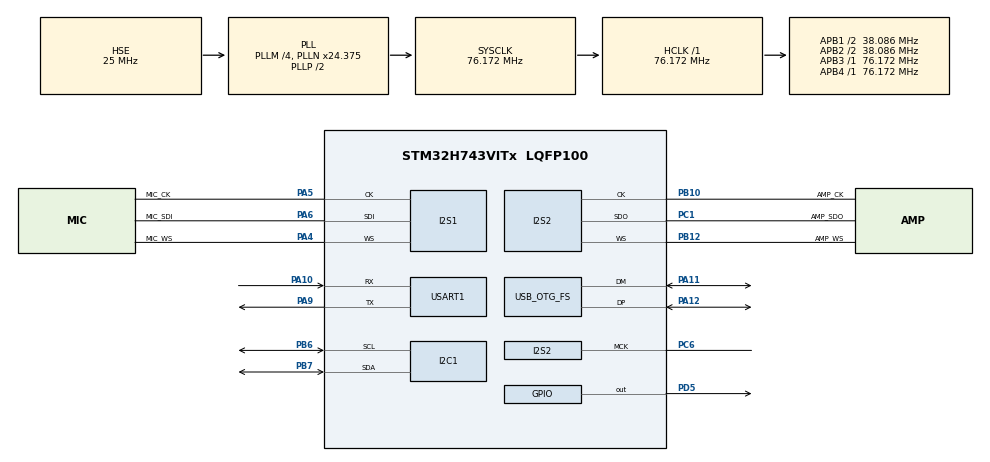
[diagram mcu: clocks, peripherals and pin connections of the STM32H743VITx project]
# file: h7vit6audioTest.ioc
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CORTEX_M7.default_mode_Activation=1
Dma.Request0=SPI1_RX
Dma.Request1=SPI2_TX
Dma.SPI1_RX.0.Direction=DMA_PERIPH_TO_MEMORY
Dma.SPI1_RX.0.EventEnable=DISABLE
Dma.SPI1_RX.0.FIFOMode=DMA_FIFOMODE_DISABLE
Dma.SPI1_RX.0.Instance=DMA1_Stream0
Dma.SPI1_RX.0.MemDataAlignment=DMA_MDATAALIGN_HALFWORD
Dma.SPI1_RX.0.MemInc=DMA_MINC_ENABLE
Dma.SPI1_RX.0.Mode=DMA_CIRCULAR
Dma.SPI1_RX.0.PeriphDataAlignment=DMA_PDATAALIGN_HALFWORD
Dma.SPI1_RX.0.PeriphInc=DMA_PINC_DISABLE
Dma.SPI1_RX.0.Polarity=HAL_DMAMUX_REQ_GEN_RISING
Dma.SPI1_RX.0.Priority=DMA_PRIORITY_HIGH
Dma.SPI1_RX.0.RequestNumber=1
Dma.SPI1_RX.0.SignalID=NONE
Dma.SPI1_RX.0.SyncEnable=DISABLE
Dma.SPI1_RX.0.SyncPolarity=HAL_DMAMUX_SYNC_NO_EVENT
Dma.SPI1_RX.0.SyncRequestNumber=1
Dma.SPI1_RX.0.SyncSignalID=NONE
Dma.SPI2_TX.1.Direction=DMA_MEMORY_TO_PERIPH
Dma.SPI2_TX.1.EventEnable=DISABLE
Dma.SPI2_TX.1.FIFOMode=DMA_FIFOMODE_DISABLE
Dma.SPI2_TX.1.Instance=DMA1_Stream1
Dma.SPI2_TX.1.MemDataAlignment=DMA_MDATAALIGN_HALFWORD
Dma.SPI2_TX.1.MemInc=DMA_MINC_ENABLE
Dma.SPI2_TX.1.Mode=DMA_CIRCULAR
Dma.SPI2_TX.1.PeriphDataAlignment=DMA_PDATAALIGN_HALFWORD
Dma.SPI2_TX.1.PeriphInc=DMA_PINC_DISABLE
Dma.SPI2_TX.1.Polarity=HAL_DMAMUX_REQ_GEN_RISING
Dma.SPI2_TX.1.Priority=DMA_PRIORITY_HIGH
Dma.SPI2_TX.1.RequestNumber=1
Dma.SPI2_TX.1.SignalID=NONE
Dma.SPI2_TX.1.SyncEnable=DISABLE
Dma.SPI2_TX.1.SyncPolarity=HAL_DMAMUX_SYNC_NO_EVENT
Dma.SPI2_TX.1.SyncRequestNumber=1
Dma.SPI2_TX.1.SyncSignalID=NONE
I2C1.Timing=0x009094DF
I2S1.AudioFreq=I2S_AUDIOFREQ_44K
I2S1.DataFormat=I2S_DATAFORMAT_16B
I2S1.ErrorAudioFreq=-3.39 %
I2S1.Instance=SPI$Index
I2S1.RealAudioFreq=42.506 KHz
I2S2.AudioFreq=I2S_AUDIOFREQ_44K
I2S2.DataFormat=I2S_DATAFORMAT_16B
I2S2.ErrorAudioFreq=-3.39 %
I2S2.Instance=SPI$Index
I2S2.RealAudioFreq=42.506 KHz
Mcu.Family=STM32H7
Mcu.Name=STM32H743VITx
Mcu.Package=LQFP100
NVIC.DMA1_Stream0_IRQn=true\:0\:0\:false\:false\:true\:false\:true\:true
NVIC.DMA1_Stream1_IRQn=true\:0\:0\:false\:false\:true\:false\:true\:true
NVIC.OTG_FS_IRQn=true\:0\:0\:false\:false\:true\:false\:true\:true
NVIC.PriorityGroup=NVIC_PRIORITYGROUP_4
PA10.Mode=Asynchronous
PA10.Signal=USART1_RX
PA11.Mode=Device_Only
PA11.Signal=USB_OTG_FS_DM
PA12.Mode=Device_Only
PA12.Signal=USB_OTG_FS_DP
PA13\ (JTMS/SWDIO).Mode=Serial_Wire
PA13\ (JTMS/SWDIO).Signal=DEBUG_JTMS-SWDIO
PA14\ (JTCK/SWCLK).Mode=Serial_Wire
PA14\ (JTCK/SWCLK).Signal=DEBUG_JTCK-SWCLK
PA4.GPIO_Label=MIC_WS
PA4.Mode=Half_Duplex_Master_Rx
PA4.Signal=I2S1_WS
PA5.GPIO_Label=MIC_CK
PA5.Mode=Half_Duplex_Master_Rx
PA5.Signal=I2S1_CK
PA6.GPIO_Label=MIC_SDI
PA6.Mode=Half_Duplex_Master_Rx
PA6.Signal=I2S1_SDI
PA9.Mode=Asynchronous
PA9.Signal=USART1_TX
PB10.GPIO_Label=AMP_CK
PB10.Mode=Half_Duplex_Master_Tx
PB10.Signal=I2S2_CK
PB12.GPIO_Label=AMP_WS
PB12.Mode=Half_Duplex_Master_Tx
PB12.Signal=I2S2_WS
PB6.Mode=I2C
PB6.Signal=I2C1_SCL
PB7.Mode=I2C
PB7.Signal=I2C1_SDA
PC1.GPIO_Label=AMP_SDO
PC1.Mode=Half_Duplex_Master_Tx
PC1.Signal=I2S2_SDO
PC14-OSC32_IN\ (OSC32_IN).Mode=LSE-External-Oscillator
PC14-OSC32_IN\ (OSC32_IN).Signal=RCC_OSC32_IN
PC15-OSC32_OUT\ (OSC32_OUT).Mode=LSE-External-Oscillator
PC15-OSC32_OUT\ (OSC32_OUT).Signal=RCC_OSC32_OUT
PC6.Mode=Master_Clock_Activated
PC6.Signal=I2S2_MCK
PD5.Signal=GPIO_Output
PH0-OSC_IN\ (PH0).Mode=HSE-External-Oscillator
PH0-OSC_IN\ (PH0).Signal=RCC_OSC_IN
PH1-OSC_OUT\ (PH1).Mode=HSE-External-Oscillator
PH1-OSC_OUT\ (PH1).Signal=RCC_OSC_OUT
ProjectManager.HeapSize=0x200
ProjectManager.StackSize=0x400
ProjectManager.TargetToolchain=STM32CubeIDE
RCC.ADCFreq_Value=50390625
RCC.APB1Freq_Value=38085937.5
RCC.APB2Freq_Value=38085937.5
RCC.APB3Freq_Value=76171875
RCC.APB4Freq_Value=76171875
RCC.CortexFreq_Value=76171875
RCC.D2PPRE1=RCC_APB1_DIV2
RCC.D2PPRE2=RCC_APB2_DIV2
RCC.DIVM1=4
RCC.DIVN1=24
RCC.DIVQ1=14
RCC.HCLKFreq_Value=76171875
RCC.PLLFRACN=3072
RCC.PLLSourceVirtual=RCC_PLLSOURCE_HSE
RCC.SYSCLKFreq_VALUE=76171875
RCC.SYSCLKSource=RCC_SYSCLKSOURCE_PLLCLK
RCC.USBCLockSelection=RCC_USBCLKSOURCE_HSI48
RCC.USBFreq_Value=48000000
USART1.VirtualMode-Asynchronous=VM_ASYNC
USB_DEVICE.CLASS_NAME_FS=CDC
USB_DEVICE.VirtualMode-CDC_FS=Cdc
USB_DEVICE.VirtualModeFS=Cdc_FS
USB_OTG_FS.VirtualMode=Device_Only
VP_MEMORYMAP_VS_MEMORYMAP.Mode=CurAppReg
VP_USB_DEVICE_VS_USB_DEVICE_CDC_FS.Mode=CDC_FS
board=custom

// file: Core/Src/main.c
/* USER CODE BEGIN Header */
/**
  ******************************************************************************
  * @file           : main.c
  * @brief          : Main program body
  ******************************************************************************
  * @attention
  *
  * Copyright (c) 2026 STMicroelectronics.
  * All rights reserved.
  *
  * This software is licensed under terms that can be found in the LICENSE file
  * in the root directory of this software component.
  * If no LICENSE file comes with this software, it is provided AS-IS.
  *
  ******************************************************************************
  */
/* USER CODE END Header */
#include "main.h"
#include "dma.h"
#include "i2c.h"
#include "i2s.h"
#include "usart.h"
#include "usb_device.h"
#include "gpio.h"

/* USER CODE BEGIN Includes */
#include <string.h>
#include <stdio.h>
#include "usbd_cdc_if.h"
/* USER CODE END Includes */

/* USER CODE BEGIN PTD */
// Define buffer size. 4096 half-words = 8192 bytes.
// It must be an even number so it can be split into two perfect halves.
#define DAC3100_I2C_ADDR (0x18 << 1) // Default I2C address
#define AUDIO_BUFFER_SIZE 4096
const int GAIN_FACTOR = 1;
// 16-bit (Half-Word) buffers for Circular DMA
uint16_t rxBuffer[AUDIO_BUFFER_SIZE];
uint16_t txBuffer[AUDIO_BUFFER_SIZE];

// Flags to handle processing in the main loop instead of the ISR
volatile uint8_t processHalf1 = 0;
volatile uint8_t processHalf2 = 0;
/* USER CODE END PTD */

/* USER CODE BEGIN PD */

int __io_putchar(int ch) {

    HAL_UART_Transmit(&huart1, (uint8_t *)&ch, 1, HAL_MAX_DELAY);
    return ch;
}

static uint8_t current_page = 0xFF;
uint8_t TxBuffer[] = "Hello World! From STM32 USB CDC Device To Virtual COM Port\r\n";
uint8_t TxBufferLen = sizeof(TxBuffer);

void USB_CDC_RxHandler(uint8_t* Buf, uint32_t Len)
{
	CDC_Transmit_FS(Buf, Len);
}

void FirstHalfProcessAudio()
{

	 for(int i = 0; i < (AUDIO_BUFFER_SIZE / 2); i++)
		          {
		              // Cast to signed 16-bit! Audio is 2's complement PCM.
		              int32_t sample = (int16_t)rxBuffer[i];

		              sample *= GAIN_FACTOR; // Boost the volume

		              // 3. Hard Clipping (Prevent overflow static/screeching)
		              if (sample > 32767)  sample = 32767;
		              if (sample < -32768) sample = -32768;

		              txBuffer[i] = (uint16_t)sample;
		          }

}

void SecondHalfProcessAudio()
{

	for(int i = (AUDIO_BUFFER_SIZE / 2); i < AUDIO_BUFFER_SIZE; i++)
		          {
		              int32_t sample = (int16_t)rxBuffer[i];

		              sample *= GAIN_FACTOR;

		              if (sample > 32767)  sample = 32767;
		              if (sample < -32768) sample = -32768;

		              txBuffer[i] = (uint16_t)sample;
		          }

}

void DAC3100_SetPage(I2C_HandleTypeDef *hi2c, uint8_t page)
{
    if (page != current_page) {
        uint8_t buffer[2] = {0x00, page}; // Register 0 is always Page Select
        HAL_I2C_Master_Transmit(hi2c, DAC3100_I2C_ADDR, buffer, 2, 100);
        current_page = page;
    }
}

void DAC3100_WriteRegister(I2C_HandleTypeDef *hi2c, uint8_t reg, uint8_t data)
{
    uint8_t buffer[2] = {reg, data};
    HAL_I2C_Master_Transmit(hi2c, DAC3100_I2C_ADDR, buffer, 2, 100);
}

void DAC3100_Init(I2C_HandleTypeDef *hi2c)
{
    // 1. Define starting point
    DAC3100_SetPage(hi2c, 0);       // Ensure we are on Page 0
    DAC3100_WriteRegister(hi2c, 0x01, 0x01); // SW Reset
    HAL_Delay(10);

    // 2. Program clock settings
    // All these are on Page 0, so no need to call SetPage again!
    DAC3100_WriteRegister(hi2c, 0x04, 0x03); // Clock mux
    DAC3100_WriteRegister(hi2c, 0x06, 0x08); // J value
    DAC3100_WriteRegister(hi2c, 0x07, 0x00); // D MSB
    DAC3100_WriteRegister(hi2c, 0x08, 0x00); // D LSB
    DAC3100_WriteRegister(hi2c, 0x05, 0x91); // Power up PLL

    DAC3100_WriteRegister(hi2c, 0x0B, 0x88); // Program and power up NDAC
    DAC3100_WriteRegister(hi2c, 0x0C, 0x82); // # MDAC is powered up and set to 2

    DAC3100_WriteRegister(hi2c, 0x0D, 0x00); // # DOSR = 128, DOSR(9:8) = 0, DOSR(7:0) = 128
    DAC3100_WriteRegister(hi2c, 0x0E, 0x80); // #

    DAC3100_WriteRegister(hi2c, 0x1B, 0x00); // #

    DAC3100_WriteRegister(hi2c, 0x3C, 0x0B); // #
    DAC3100_WriteRegister(hi2c, 0x00, 0x08); // #
    DAC3100_WriteRegister(hi2c, 0x01, 0x04); // #
    DAC3100_WriteRegister(hi2c, 0x00, 0x00); // #

    DAC3100_WriteRegister(hi2c, 0x74, 0x00); // #

    DAC3100_SetPage(hi2c,1); //set page 1

    DAC3100_WriteRegister(hi2c, 0x1F, 0x04); // #

    DAC3100_WriteRegister(hi2c, 0x21, 0x4E); // #headphones

    DAC3100_WriteRegister(hi2c, 0x23, 0x44); // #headphones route

    DAC3100_WriteRegister(hi2c, 0x28, 0x06); // #headphones
    DAC3100_WriteRegister(hi2c, 0x29, 0x06); // #headphones

    DAC3100_WriteRegister(hi2c, 0x2A, 0x1C);

    DAC3100_WriteRegister(hi2c, 0x1F, 0xC2);
    DAC3100_WriteRegister(hi2c, 0x20, 0x86);
    DAC3100_WriteRegister(hi2c, 0x24, 0x92);
    DAC3100_WriteRegister(hi2c, 0x25, 0x92);
    DAC3100_WriteRegister(hi2c, 0x26, 0x92);

    DAC3100_SetPage(hi2c,0); //set page 0

    DAC3100_WriteRegister(hi2c, 0x3F, 0xD4);
    DAC3100_WriteRegister(hi2c, 0x41, 0xD4);
    DAC3100_WriteRegister(hi2c, 0x42, 0xD4);
    DAC3100_WriteRegister(hi2c, 0x40, 0x00);

}

/* USER CODE END PD */

void SystemClock_Config(void);
static void MPU_Config(void);

int main(void)
{

  /* MPU Configuration--------------------------------------------------------*/
  MPU_Config();

  /* MCU Configuration--------------------------------------------------------*/

  /* Reset of all peripherals, Initializes the Flash interface and the Systick. */
  HAL_Init();

  /* Configure the system clock */
  SystemClock_Config();

  /* Initialize all configured peripherals */
  MX_GPIO_Init();
  MX_DMA_Init();
  MX_I2S1_Init();
  MX_I2S2_Init();
  MX_USART1_UART_Init();
  MX_I2C1_Init();
  MX_USB_DEVICE_Init();
  /* USER CODE BEGIN 2 */
  HAL_Delay(3100);
  CDC_Transmit_FS(TxBuffer, TxBufferLen);

  // Clear buffers to avoid initial noise/pops
    memset(rxBuffer, 0, sizeof(rxBuffer));
    memset(txBuffer, 0, sizeof(txBuffer));

    HAL_GPIO_WritePin(GPIOD, GPIO_PIN_5, GPIO_PIN_RESET);
    HAL_Delay(300);
    HAL_GPIO_WritePin(GPIOD, GPIO_PIN_5, GPIO_PIN_SET);

    DAC3100_Init(&hi2c1);

    // 1. Start I2S2 Transmit (MAX98357A) in Circular DMA mode
    // We start TX first so it outputs silence while waiting for the first RX packet
    HAL_I2S_Transmit_DMA(&hi2s2, txBuffer, AUDIO_BUFFER_SIZE);

    // 2. Start I2S1 Receive (ADAU7002) in Circular DMA mode
    HAL_I2S_Receive_DMA(&hi2s1, rxBuffer, AUDIO_BUFFER_SIZE);

  /* USER CODE END 2 */

  /* Infinite loop */
  while (1)
  {

    /* USER CODE BEGIN 3 */

	  // Process the First Half of the buffer
	  if (processHalf1 == 1)
	      {

	          // Apply digital gain
		  FirstHalfProcessAudio();

		  // --- SEND TO PYTHON ---
		          // We send the first half of txBuffer (AUDIO_BUFFER_SIZE / 2 samples)
		          // Each sample is 2 bytes, so we multiply by 2 for the byte length.
		   CDC_Transmit_FS((uint8_t*)&txBuffer[0], (AUDIO_BUFFER_SIZE / 2) * 2);

	          processHalf1 = 0; // Clear flag
	      }

	      // Process the Second Half of the buffer
	      if (processHalf2 == 1)
	      {

	    	  SecondHalfProcessAudio();
	    	  CDC_Transmit_FS((uint8_t*)&txBuffer[AUDIO_BUFFER_SIZE / 2], (AUDIO_BUFFER_SIZE / 2) * 2);

	          processHalf2 = 0; // Clear flag
	      }  }
  /* USER CODE END 3 */
}

void SystemClock_Config(void)
{
  RCC_OscInitTypeDef RCC_OscInitStruct = {0};
  RCC_ClkInitTypeDef RCC_ClkInitStruct = {0};

  /** Supply configuration update enable
  */
  HAL_PWREx_ConfigSupply(PWR_LDO_SUPPLY);

  /** Configure the main internal regulator output voltage
  */
  __HAL_PWR_VOLTAGESCALING_CONFIG(PWR_REGULATOR_VOLTAGE_SCALE3);

  while(!__HAL_PWR_GET_FLAG(PWR_FLAG_VOSRDY)) {}

  /** Initializes the RCC Oscillators according to the specified parameters
  * in the RCC_OscInitTypeDef structure.
  */
  RCC_OscInitStruct.OscillatorType = RCC_OSCILLATORTYPE_HSI48|RCC_OSCILLATORTYPE_HSE;
  RCC_OscInitStruct.HSEState = RCC_HSE_ON;
  RCC_OscInitStruct.HSI48State = RCC_HSI48_ON;
  RCC_OscInitStruct.PLL.PLLState = RCC_PLL_ON;
  RCC_OscInitStruct.PLL.PLLSource = RCC_PLLSOURCE_HSE;
  RCC_OscInitStruct.PLL.PLLM = 4;
  RCC_OscInitStruct.PLL.PLLN = 24;
  RCC_OscInitStruct.PLL.PLLP = 2;
  RCC_OscInitStruct.PLL.PLLQ = 14;
  RCC_OscInitStruct.PLL.PLLR = 2;
  RCC_OscInitStruct.PLL.PLLRGE = RCC_PLL1VCIRANGE_2;
  RCC_OscInitStruct.PLL.PLLVCOSEL = RCC_PLL1VCOMEDIUM;
  RCC_OscInitStruct.PLL.PLLFRACN = 3072;
  if (HAL_RCC_OscConfig(&RCC_OscInitStruct) != HAL_OK)
  {
    Error_Handler();
  }

  /** Initializes the CPU, AHB and APB buses clocks
  */
  RCC_ClkInitStruct.ClockType = RCC_CLOCKTYPE_HCLK|RCC_CLOCKTYPE_SYSCLK
                              |RCC_CLOCKTYPE_PCLK1|RCC_CLOCKTYPE_PCLK2
                              |RCC_CLOCKTYPE_D3PCLK1|RCC_CLOCKTYPE_D1PCLK1;
  RCC_ClkInitStruct.SYSCLKSource = RCC_SYSCLKSOURCE_PLLCLK;
  RCC_ClkInitStruct.SYSCLKDivider = RCC_SYSCLK_DIV1;
  RCC_ClkInitStruct.AHBCLKDivider = RCC_HCLK_DIV1;
  RCC_ClkInitStruct.APB3CLKDivider = RCC_APB3_DIV1;
  RCC_ClkInitStruct.APB1CLKDivider = RCC_APB1_DIV2;
  RCC_ClkInitStruct.APB2CLKDivider = RCC_APB2_DIV2;
  RCC_ClkInitStruct.APB4CLKDivider = RCC_APB4_DIV1;

  if (HAL_RCC_ClockConfig(&RCC_ClkInitStruct, FLASH_LATENCY_1) != HAL_OK)
  {
    Error_Handler();
  }
}

/* USER CODE BEGIN 4 */
void HAL_I2S_RxHalfCpltCallback(I2S_HandleTypeDef *hi2s)
{
    if (hi2s->Instance == SPI1) // Ensure it's I2S1 (ADAU7002)
    {
        // Set flag to process the first half of the buffer in the main loop
        processHalf1 = 1;
    }
}

/**
  * @brief  Rx Transfer completed callbacks.
  * @param  hi2s: pointer to a I2S_HandleTypeDef structure.
  */
void HAL_I2S_RxCpltCallback(I2S_HandleTypeDef *hi2s)
{
    if (hi2s->Instance == SPI1)
    {
        // Set flag to process the second half of the buffer in the main loop
        processHalf2 = 1;
    }
}
/* USER CODE END 4 */

 /* MPU Configuration */

void MPU_Config(void)
{
  MPU_Region_InitTypeDef MPU_InitStruct = {0};

  /* Disables the MPU */
  HAL_MPU_Disable();

  /** Initializes and configures the Region and the memory to be protected
  */
  MPU_InitStruct.Enable = MPU_REGION_ENABLE;
  MPU_InitStruct.Number = MPU_REGION_NUMBER0;
  MPU_InitStruct.BaseAddress = 0x0;
  MPU_InitStruct.Size = MPU_REGION_SIZE_4GB;
  MPU_InitStruct.SubRegionDisable = 0x87;
  MPU_InitStruct.TypeExtField = MPU_TEX_LEVEL0;
  MPU_InitStruct.AccessPermission = MPU_REGION_NO_ACCESS;
  MPU_InitStruct.DisableExec = MPU_INSTRUCTION_ACCESS_DISABLE;
  MPU_InitStruct.IsShareable = MPU_ACCESS_SHAREABLE;
  MPU_InitStruct.IsCacheable = MPU_ACCESS_NOT_CACHEABLE;
  MPU_InitStruct.IsBufferable = MPU_ACCESS_NOT_BUFFERABLE;

  HAL_MPU_ConfigRegion(&MPU_InitStruct);
  /* Enables the MPU */
  HAL_MPU_Enable(MPU_PRIVILEGED_DEFAULT);

}

void Error_Handler(void)
{
  __disable_irq();
  while (1)
  {
  }
}
